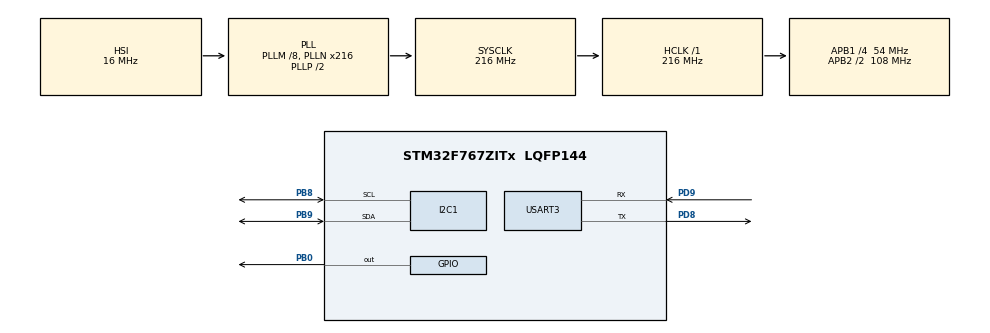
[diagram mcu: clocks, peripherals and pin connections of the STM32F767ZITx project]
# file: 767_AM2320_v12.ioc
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I2C1.Timing=0x20404768
Mcu.Family=STM32F7
Mcu.Name=STM32F767ZITx
Mcu.Package=LQFP144
NVIC.PriorityGroup=NVIC_PRIORITYGROUP_4
PB0.Signal=GPIO_Output
PB8.Mode=I2C
PB8.Signal=I2C1_SCL
PB9.Mode=I2C
PB9.Signal=I2C1_SDA
PD8.Mode=Asynchronous
PD8.Signal=USART3_TX
PD9.Mode=Asynchronous
PD9.Signal=USART3_RX
ProjectManager.HeapSize=0x200
ProjectManager.StackSize=0x400
ProjectManager.TargetToolchain=STM32CubeIDE
RCC.AHBFreq_Value=216000000
RCC.APB1CLKDivider=RCC_HCLK_DIV4
RCC.APB1Freq_Value=54000000
RCC.APB1TimFreq_Value=108000000
RCC.APB2CLKDivider=RCC_HCLK_DIV2
RCC.APB2Freq_Value=108000000
RCC.APB2TimFreq_Value=216000000
RCC.CortexFreq_Value=216000000
RCC.HCLKFreq_Value=216000000
RCC.HSE_VALUE=25000000
RCC.HSI_VALUE=16000000
RCC.LSE_VALUE=32768
RCC.PLLM=8
RCC.PLLN=216
RCC.SYSCLKFreq_VALUE=216000000
RCC.SYSCLKSource=RCC_SYSCLKSOURCE_PLLCLK
RCC.USBFreq_Value=216000000
RCC.VCOOutputFreq_Value=432000000
USART3.VirtualMode-Asynchronous=VM_ASYNC
board=custom

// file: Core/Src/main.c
/**
  ******************************************************************************
  * @file           : main.c
  * @brief          : Main program body
  ******************************************************************************
  ** This notice applies to any and all portions of this file
  * that are not between comment pairs USER CODE BEGIN and
  * USER CODE END. Other portions of this file, whether
  * inserted by the user or by software development tools
  * are owned by their respective copyright owners.
  *
  * COPYRIGHT(c) 2021 STMicroelectronics
  *
  * Redistribution and use in source and binary forms, with or without modification,
  * are permitted provided that the following conditions are met:
  *   1. Redistributions of source code must retain the above copyright notice,
  *      this list of conditions and the following disclaimer.
  *   2. Redistributions in binary form must reproduce the above copyright notice,
  *      this list of conditions and the following disclaimer in the documentation
  *      and/or other materials provided with the distribution.
  *   3. Neither the name of STMicroelectronics nor the names of its contributors
  *      may be used to endorse or promote products derived from this software
  *      without specific prior written permission.
  *
  * THIS SOFTWARE IS PROVIDED BY THE COPYRIGHT HOLDERS AND CONTRIBUTORS "AS IS"
  * AND ANY EXPRESS OR IMPLIED WARRANTIES, INCLUDING, BUT NOT LIMITED TO, THE
  * IMPLIED WARRANTIES OF MERCHANTABILITY AND FITNESS FOR A PARTICULAR PURPOSE ARE
  * DISCLAIMED. IN NO EVENT SHALL THE COPYRIGHT HOLDER OR CONTRIBUTORS BE LIABLE
  * FOR ANY DIRECT, INDIRECT, INCIDENTAL, SPECIAL, EXEMPLARY, OR CONSEQUENTIAL
  * DAMAGES (INCLUDING, BUT NOT LIMITED TO, PROCUREMENT OF SUBSTITUTE GOODS OR
  * SERVICES; LOSS OF USE, DATA, OR PROFITS; OR BUSINESS INTERRUPTION) HOWEVER
  * CAUSED AND ON ANY THEORY OF LIABILITY, WHETHER IN CONTRACT, STRICT LIABILITY,
  * OR TORT (INCLUDING NEGLIGENCE OR OTHERWISE) ARISING IN ANY WAY OUT OF THE USE
  * OF THIS SOFTWARE, EVEN IF ADVISED OF THE POSSIBILITY OF SUCH DAMAGE.
  *
  ******************************************************************************
  */
#include "main.h"
#include "stm32f7xx_hal.h"
#include "i2c.h"
#include "usart.h"
#include "gpio.h"

/* USER CODE BEGIN Includes */
#include "stdio.h"
#include "string.h"
/* USER CODE END Includes */

/* USER CODE BEGIN PV */
/* Private variables ---------------------------------------------------------*/
float h=30.0,t=40.0;
uint8_t step = 0;
HAL_StatusTypeDef status;
/* USER CODE END PV */

void SystemClock_Config(void);

/* USER CODE BEGIN PFP */
/* Private function prototypes -----------------------------------------------*/
uint16_t CRC16_2(uint8_t *, uint8_t );
/* USER CODE END PFP */

int main(void)
{
  /* USER CODE BEGIN 1 */
	char str[50];
	uint8_t cmdBuffer[3];
	uint8_t dataBuffer[8];
  /* USER CODE END 1 */

  /* MCU Configuration----------------------------------------------------------*/

  /* Reset of all peripherals, Initializes the Flash interface and the Systick. */
  HAL_Init();

  /* Configure the system clock */
  SystemClock_Config();

  /* Initialize all configured peripherals */
  MX_GPIO_Init();
  MX_USART3_UART_Init();
  MX_I2C1_Init();
  /* USER CODE BEGIN 2 */
  	sprintf(str, "\n\rAM2320 I2C DEMO Starting . . .\n\r");

  	HAL_UART_Transmit(&huart3, (uint8_t*) str, strlen(str),200);

  	cmdBuffer[0] = 0x03;
  	cmdBuffer[1] = 0x00;
  	cmdBuffer[2] = 0x04;
  /* USER CODE END 2 */

  /* Infinite loop */
  while (1)
  {

  /* USER CODE BEGIN 3 */
		//Send Temp & Humid via UART2
		sprintf(str, "Temperature = %4.1f\tHumidity = %4.1f\n\r", t, h);
		while(__HAL_UART_GET_FLAG(&huart3,UART_FLAG_TC)==RESET){}
		HAL_UART_Transmit(&huart3, (uint8_t*) str, strlen(str),200);

		HAL_Delay(5000); //>3000 ms
		HAL_GPIO_TogglePin(GPIOB, GPIO_PIN_0);

		//Wake up sensor
		HAL_I2C_Master_Transmit(&hi2c1, 0x5c<<1, cmdBuffer, 3, 200);
		//Send reading command
		HAL_I2C_Master_Transmit(&hi2c1, 0x5c<<1, cmdBuffer, 3, 200);

		HAL_Delay(1);

		//Receive sensor data
		HAL_I2C_Master_Receive(&hi2c1, 0x5c<<1, dataBuffer, 8, 200);

		uint16_t Rcrc = dataBuffer[7] << 8;
		Rcrc += dataBuffer[6];
		if (Rcrc == CRC16_2(dataBuffer, 6)) {
			uint16_t temperature = ((dataBuffer[4] & 0x7F) << 8) + dataBuffer[5];
			t = temperature / 10.0;
			t = (((dataBuffer[4] & 0x80) >> 7)== 1) ? (t * (-1)) : t ; // the temperature can be negative

			uint16_t humidity = (dataBuffer[2] << 8) + dataBuffer[3];
			h = humidity / 10.0;
		}

  }
  /* USER CODE END 3 */

}

void SystemClock_Config(void)
{

  RCC_OscInitTypeDef RCC_OscInitStruct;
  RCC_ClkInitTypeDef RCC_ClkInitStruct;
  RCC_PeriphCLKInitTypeDef PeriphClkInitStruct;

    /**Configure the main internal regulator output voltage
    */
  __HAL_RCC_PWR_CLK_ENABLE();

  __HAL_PWR_VOLTAGESCALING_CONFIG(PWR_REGULATOR_VOLTAGE_SCALE1);

    /**Initializes the CPU, AHB and APB busses clocks
    */
  RCC_OscInitStruct.OscillatorType = RCC_OSCILLATORTYPE_HSI;
  RCC_OscInitStruct.HSIState = RCC_HSI_ON;
  RCC_OscInitStruct.HSICalibrationValue = 16;
  RCC_OscInitStruct.PLL.PLLState = RCC_PLL_ON;
  RCC_OscInitStruct.PLL.PLLSource = RCC_PLLSOURCE_HSI;
  RCC_OscInitStruct.PLL.PLLM = 8;
  RCC_OscInitStruct.PLL.PLLN = 216;
  RCC_OscInitStruct.PLL.PLLP = RCC_PLLP_DIV2;
  RCC_OscInitStruct.PLL.PLLQ = 2;
  if (HAL_RCC_OscConfig(&RCC_OscInitStruct) != HAL_OK)
  {
    _Error_Handler(__FILE__, __LINE__);
  }

    /**Activate the Over-Drive mode
    */
  if (HAL_PWREx_EnableOverDrive() != HAL_OK)
  {
    _Error_Handler(__FILE__, __LINE__);
  }

    /**Initializes the CPU, AHB and APB busses clocks
    */
  RCC_ClkInitStruct.ClockType = RCC_CLOCKTYPE_HCLK|RCC_CLOCKTYPE_SYSCLK
                              |RCC_CLOCKTYPE_PCLK1|RCC_CLOCKTYPE_PCLK2;
  RCC_ClkInitStruct.SYSCLKSource = RCC_SYSCLKSOURCE_PLLCLK;
  RCC_ClkInitStruct.AHBCLKDivider = RCC_SYSCLK_DIV1;
  RCC_ClkInitStruct.APB1CLKDivider = RCC_HCLK_DIV4;
  RCC_ClkInitStruct.APB2CLKDivider = RCC_HCLK_DIV2;

  if (HAL_RCC_ClockConfig(&RCC_ClkInitStruct, FLASH_LATENCY_7) != HAL_OK)
  {
    _Error_Handler(__FILE__, __LINE__);
  }

  PeriphClkInitStruct.PeriphClockSelection = RCC_PERIPHCLK_USART3|RCC_PERIPHCLK_I2C1;
  PeriphClkInitStruct.Usart3ClockSelection = RCC_USART3CLKSOURCE_PCLK1;
  PeriphClkInitStruct.I2c1ClockSelection = RCC_I2C1CLKSOURCE_PCLK1;
  if (HAL_RCCEx_PeriphCLKConfig(&PeriphClkInitStruct) != HAL_OK)
  {
    _Error_Handler(__FILE__, __LINE__);
  }

    /**Configure the Systick interrupt time
    */
  HAL_SYSTICK_Config(HAL_RCC_GetHCLKFreq()/1000);

    /**Configure the Systick
    */
  HAL_SYSTICK_CLKSourceConfig(SYSTICK_CLKSOURCE_HCLK);

  /* SysTick_IRQn interrupt configuration */
  HAL_NVIC_SetPriority(SysTick_IRQn, 0, 0);
}

/* USER CODE BEGIN 4 */
uint16_t CRC16_2(uint8_t *ptr, uint8_t length)
{
      uint16_t 	crc = 0xFFFF;
      uint8_t 	s 	= 0x00;

      while(length--) {
        crc ^= *ptr++;
        for(s = 0; s < 8; s++) {
          if((crc & 0x01) != 0) {
            crc >>= 1;
            crc ^= 0xA001;
          } else crc >>= 1;
        }
      }
      return crc;
}
/* USER CODE END 4 */

void _Error_Handler(char *file, int line)
{
  while(1)
  {
  }
}

/************************ (C) COPYRIGHT STMicroelectronics *****END OF FILE****/
